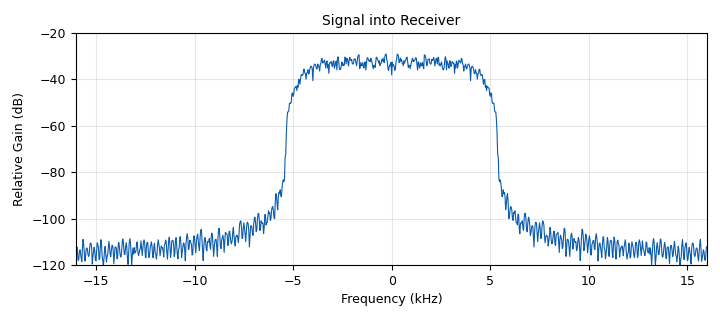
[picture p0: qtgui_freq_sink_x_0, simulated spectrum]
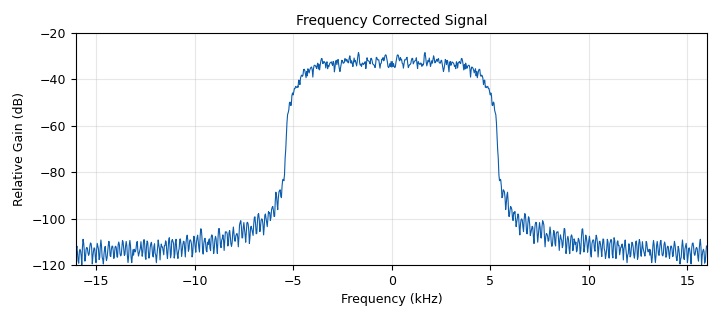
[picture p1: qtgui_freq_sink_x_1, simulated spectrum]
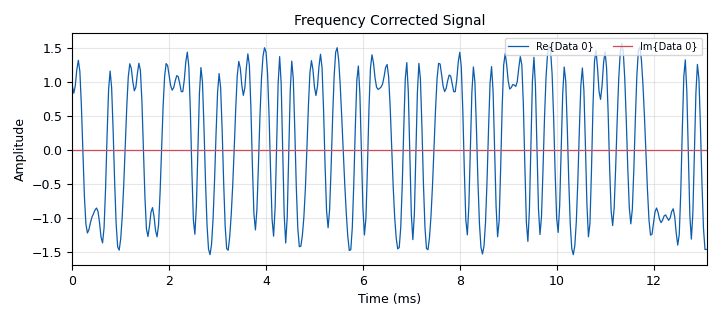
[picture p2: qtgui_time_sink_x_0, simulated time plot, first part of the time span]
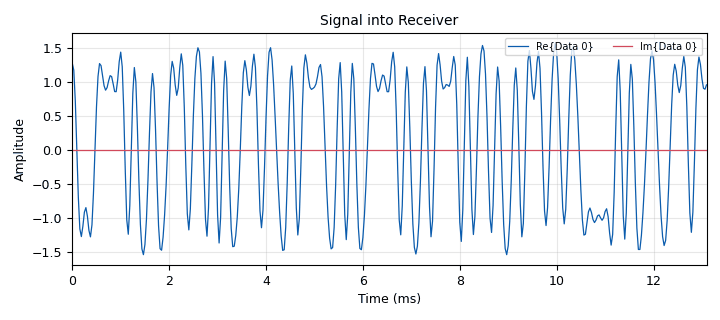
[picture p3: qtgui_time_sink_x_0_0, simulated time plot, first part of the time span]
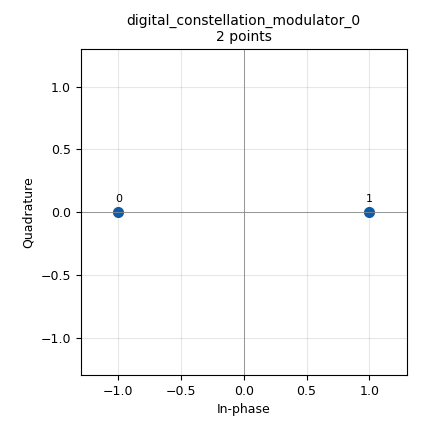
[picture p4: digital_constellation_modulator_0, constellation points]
options:
  parameters:
    category: Custom
    generate_options: qt_gui
    id: digital_freq_lock
    output_language: python
  states: {}

blocks:
- name: constel
  id: variable_constellation
  parameters:
    precision: '8'
    type: bpsk
  states: {}
- name: freq_bw
  id: variable_qtgui_range
  parameters:
    gui_hint: 1, 0, 1, 2
    orient: QtCore.Qt.Orientation.Horizontal
    start: '0'
    step: '0.001'
    stop: '0.1'
    value: '0'
  states: {}
- name: freq_offset
  id: variable_qtgui_range
  parameters:
    gui_hint: 0, 1, 1, 1
    label: Frequency Offset
    orient: QtCore.Qt.Orientation.Horizontal
    start: '-.5'
    step: '0.01'
    stop: '.5'
    value: '0'
  states: {}
- name: noise_amp
  id: variable_qtgui_range
  parameters:
    gui_hint: 0, 0, 1, 1
    label: Channel Noise
    orient: QtCore.Qt.Orientation.Horizontal
    start: '0'
    step: '0.01'
    stop: '1'
    value: '0'
  states: {}
- name: rolloff
  id: variable
  parameters:
    value: '0.35'
  states: {}
- name: samp_rate
  id: variable
  parameters:
    value: '32000'
  states: {}
- name: sps
  id: variable
  parameters:
    value: '4'
  states: {}
- name: analog_random_source_x
  id: analog_random_source_x
  parameters:
    max: '256'
    min: '0'
    num_samps: '10000000'
    repeat: 'True'
    type: byte
  states: {}
- name: blocks_throttle2_0
  id: blocks_throttle2
  parameters:
    samples_per_second: samp_rate
    type: complex
  states: {}
- name: channels_channel_model_0
  id: channels_channel_model
  parameters:
    epsilon: '1.0'
    freq_offset: freq_offset
    noise_voltage: noise_amp
    seed: '42'
    taps: '1.0'
  states: {}
- name: digital_constellation_modulator_0
  id: digital_constellation_modulator
  parameters:
    constellation: constel
    differential: 'False'
    excess_bw: rolloff
    samples_per_symbol: sps
  states: {}
- name: digital_fll_band_edge_cc_0
  id: digital_fll_band_edge_cc
  parameters:
    filter_size: '44'
    rolloff: rolloff
    samps_per_sym: sps
    type: cc
    w: freq_bw
  states: {}
- name: notebook
  id: qtgui_tab_widget
  parameters:
    gui_hint: 2, 0, 1, 2
    label0: Frequency
    label1: Time
    num_tabs: '2'
  states: {}
- name: qtgui_freq_sink_x_0
  id: qtgui_freq_sink_x
  parameters:
    average: '0.1'
    bw: samp_rate
    fc: '0'
    fftsize: '1024'
    gui_hint: notebook@0
    name: Signal into Receiver
    showports: 'True'
    type: complex
    ymax: '-20'
    ymin: '-120'
  states: {}
- name: qtgui_freq_sink_x_1
  id: qtgui_freq_sink_x
  parameters:
    average: '0.1'
    bw: samp_rate
    fc: '0'
    fftsize: '1024'
    gui_hint: notebook@0
    name: Frequency Corrected Signal
    showports: 'True'
    type: complex
    ymax: '-20'
    ymin: '-120'
  states: {}
- name: qtgui_time_sink_x_0
  id: qtgui_time_sink_x
  parameters:
    autoscale: 'True'
    gui_hint: notebook@1
    label1: ''
    label2: ''
    name: Frequency Corrected Signal
    size: '1024'
    srate: samp_rate
    type: complex
  states: {}
- name: qtgui_time_sink_x_0_0
  id: qtgui_time_sink_x
  parameters:
    autoscale: 'True'
    gui_hint: notebook@1
    label1: ''
    label2: ''
    name: Signal into Receiver
    size: '1024'
    srate: samp_rate
    type: complex
  states: {}

connections:
- [analog_random_source_x, '0', digital_constellation_modulator_0, '0']
- [blocks_throttle2_0, '0', channels_channel_model_0, '0']
- [channels_channel_model_0, '0', digital_fll_band_edge_cc_0, '0']
- [channels_channel_model_0, '0', qtgui_freq_sink_x_0, '0']
- [channels_channel_model_0, '0', qtgui_time_sink_x_0_0, '0']
- [digital_constellation_modulator_0, '0', blocks_throttle2_0, '0']
- [digital_fll_band_edge_cc_0, '0', qtgui_freq_sink_x_1, '0']
- [digital_fll_band_edge_cc_0, '0', qtgui_time_sink_x_0, '0']

metadata:
  file_format: 1
  grc_version: 3.10.10.0
